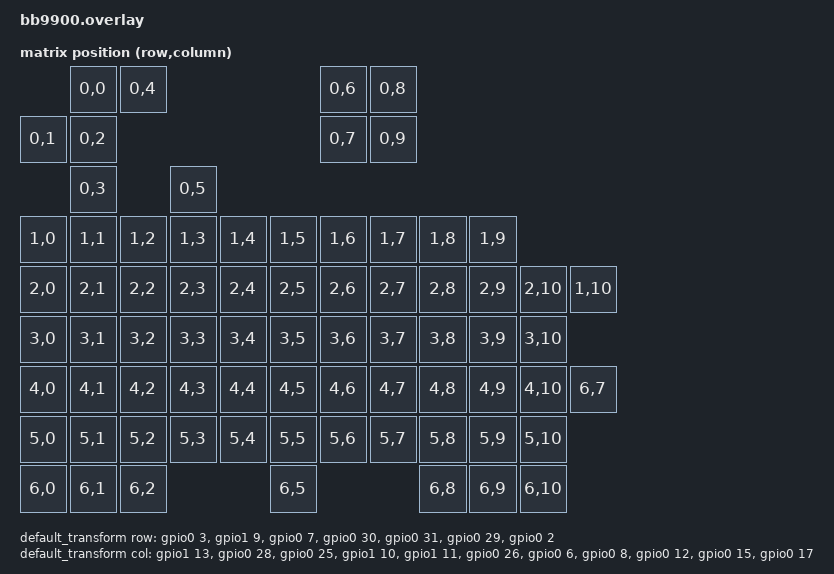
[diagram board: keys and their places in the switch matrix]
 default_transform: keymap_transform_0 {
        compatible = "zmk,matrix-transform";
        columns = <11>;
        rows = <7>;
       map = <
      RC(0,0)         RC(0,4)                RC(0,6)   RC(0,8) 
RC(0,1)     RC(0,2)                             RC(0,7)  RC(0,9) 
       RC(0,3)            RC(0,5)
RC(1,0)  RC(1,1) RC(1,2) RC(1,3) RC(1,4) RC(1,5) RC(1,6) RC(1,7) RC(1,8)  RC(1,9)
RC(2,0)  RC(2,1) RC(2,2) RC(2,3) RC(2,4) RC(2,5) RC(2,6) RC(2,7) RC(2,8)  RC(2,9) RC(2,10) RC(1,10)
RC(3,0)  RC(3,1) RC(3,2) RC(3,3) RC(3,4) RC(3,5) RC(3,6) RC(3,7) RC(3,8)  RC(3,9) RC(3,10)
RC(4,0)  RC(4,1) RC(4,2) RC(4,3) RC(4,4) RC(4,5) RC(4,6) RC(4,7) RC(4,8)  RC(4,9) RC(4,10) RC(6,7)
RC(5,0)  RC(5,1) RC(5,2) RC(5,3) RC(5,4) RC(5,5) RC(5,6) RC(5,7) RC(5,8)  RC(5,9) RC(5,10)
RC(6,0)  RC(6,1) RC(6,2)                 RC(6,5)                 RC(6,8)  RC(6,9) RC(6,10)
        >;
    };
    
    kscan0: kscan {
        compatible = "zmk,kscan-gpio-matrix";
        diode-direction = "col2row";
       row-gpios
            = <&gpio0 3 (GPIO_ACTIVE_HIGH | GPIO_PULL_DOWN)>
            , <&gpio1 9  (GPIO_ACTIVE_HIGH | GPIO_PULL_DOWN)>
            , <&gpio0 7 (GPIO_ACTIVE_HIGH | GPIO_PULL_DOWN)>
            , <&gpio0 30  (GPIO_ACTIVE_HIGH | GPIO_PULL_DOWN)>
            , <&gpio0 31  (GPIO_ACTIVE_HIGH | GPIO_PULL_DOWN)>
            , <&gpio0 29 (GPIO_ACTIVE_HIGH | GPIO_PULL_DOWN)>
            , <&gpio0 2 (GPIO_ACTIVE_HIGH | GPIO_PULL_DOWN)>
            ;
        col-gpios
            = <&gpio1 13  GPIO_ACTIVE_HIGH>
            , <&gpio0 28  GPIO_ACTIVE_HIGH>
            , <&gpio0 25  GPIO_ACTIVE_HIGH>
            , <&gpio1 10 GPIO_ACTIVE_HIGH>
            , <&gpio1 11 GPIO_ACTIVE_HIGH>
            , <&gpio0 26 GPIO_ACTIVE_HIGH>
            , <&gpio0 6 GPIO_ACTIVE_HIGH>
            , <&gpio0 8 GPIO_ACTIVE_HIGH>
            , <&gpio0 12 GPIO_ACTIVE_HIGH>
            , <&gpio0 15 GPIO_ACTIVE_HIGH>
            , <&gpio0 17 GPIO_ACTIVE_HIGH>          
            ;
    };


&i2c0 {
    a320@3b {
        compatible = "avago,a320";
        status = "okay";
        reg = <0x3B>;
    };
    
	label = "I2C_0";
	compatible = "nordic,nrf-twim";
	status = "okay";
	clock-frequency = <I2C_BITRATE_FAST>; 
	pinctrl-0 = <&i2c0_default>;
	pinctrl-1 = <&i2c0_sleep>;
	pinctrl-names = "default", "sleep";
};

&pinctrl {
    i2c0_default: i2c0_default {
		group1 {
			psels = <NRF_PSEL(TWIM_SDA, 0, 22)>,
				<NRF_PSEL(TWIM_SCL, 1, 00)>;
			bias-pull-up;
		};
	};
	i2c0_sleep: i2c0_sleep {
		group1 {
			psels = <NRF_PSEL(TWIM_SDA, 0, 22)>,
				<NRF_PSEL(TWIM_SCL, 1, 00)>;
			low-power-enable;
			bias-pull-up;
		};
	};
};
